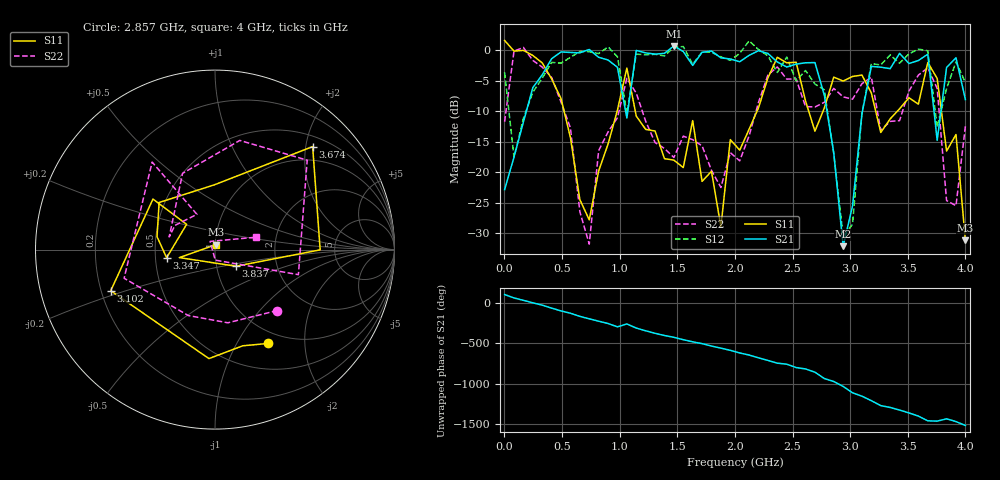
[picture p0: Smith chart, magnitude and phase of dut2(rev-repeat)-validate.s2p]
!Created with skrf (http://scikit-rf.org).
# GHz S DB R 50.0
!freq dBS11 angS11 dBS21 angS21 dBS12 angS12 dBS22 angS22
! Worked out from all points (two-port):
!   50 points, 1 MHz to 4 GHz, reference 50 ohm
!   highest |S21| = 0.68 dB at 1.47 GHz (marker M1); lowest = -32.1 dB at 2.939 GHz (marker M2)
!   |S21| within 3 dB of the highest: 380.9 MHz to 946.2 MHz (565.3 MHz wide, 85.2 % of centre); 1.64 GHz to 2.404 GHz (763.9 MHz wide, 37.8 % of centre)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
!   lowest |S11| = -31.2 dB at 4 GHz (marker M3), VSWR 1.06, Z = 50.3 + j2.76 ohm
!   |S11| at or under -10 dB: 517.1 MHz to 977.8 MHz (460.7 MHz wide, 61.6 % of centre); 1.135 GHz to 2.192 GHz (1.056 GHz wide, 63.5 % of centre); 3.792 GHz to end of sweep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
!   |S22| runs from -31.8 to 0.4 dB; largest |S21 - S12| = 0.58
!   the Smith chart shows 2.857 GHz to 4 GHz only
!   S11 on the Smith chart (normalised r, x): 2.857 GHz: 0.83, -1.36; 3.102 GHz: 0.24, -0.18; 3.347 GHz: 0.57, -0.06; 3.674 GHz: 0.70, +2.14; 3.837 GHz: 1.24, -0.24; 4 GHz: 1.01, +0.06
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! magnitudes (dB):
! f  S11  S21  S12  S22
! 1 MHz  1.6  -22.9  -3.7  -11.7
! 82.61 MHz  -0.2  -17.5  -17.5  -0.2
! 409.1 MHz  -4.7  -1.4  -2.0  -4.5
! 735.5 MHz  -27.8  0.1  -0.3  -31.8
! 817.1 MHz  -19.8  -1.2  -0.6  -16.5
! 1.062 GHz  -3.0  -11.1  -10.4  -4.6
! 1.388 GHz  -17.8  -0.5  -1.0  -16.1
! 1.47 GHz  -18.0  0.7  0.5  -17.6
! 1.633 GHz  -11.5  -2.5  -2.3  -14.7
! 1.878 GHz  -28.9  -1.3  -1.1  -22.5
! 2.041 GHz  -16.4  -1.9  -0.5  -18.1
! 2.368 GHz  -1.2  -2.0  -3.7  -2.8
! 2.694 GHz  -13.3  -2.0  -5.6  -9.3
! 2.857 GHz  -4.4  -16.8  -16.9  -6.3
! 2.939 GHz  -5.1  -32.1  -30.4  -7.7
! 3.102 GHz  -4.1  -10.4  -10.3  -5.5
! 3.347 GHz  -11.3  -3.0  -0.8  -11.7
! 3.674 GHz  -2.0  -0.7  -0.1  -2.9
! 3.755 GHz  -4.6  -14.8  -12.6  -6.3
! 3.837 GHz  -16.5  -2.8  -6.3  -24.6
! 3.918 GHz  -13.8  -1.3  -1.9  -25.5
! 4 GHz  -31.2  -8.1  -5.3  -12.5
